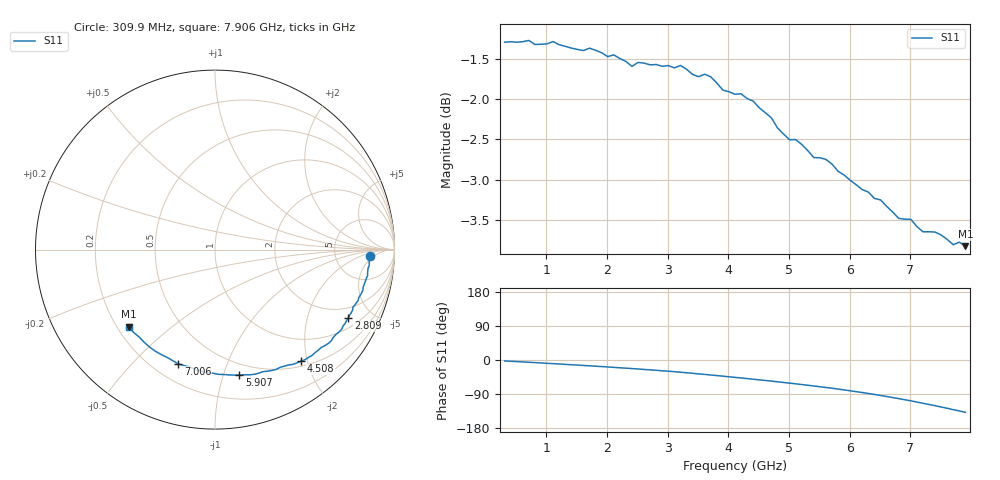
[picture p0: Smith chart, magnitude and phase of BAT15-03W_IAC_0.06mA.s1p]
! Infineon Technologies  Discrete & RF Semiconductors
! BAT15-03W-E6327
! IAC = 0.06 mA
! One-Port S-Parameters
# Hz  S  MA  R  50
!f  S11
!Hz  Mag  Ang
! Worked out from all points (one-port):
!   77 points, 309.9 MHz to 7.906 GHz, reference 50 ohm
!   lowest |S11| = -3.8 dB at 7.906 GHz (marker M1), VSWR 4.61, Z = 12.3 - j18.1 ohm
!   |S11| at or under -10 dB: nowhere
!   S11 on the Smith chart (normalised r, x): 309.9 MHz: 12, -4; 2.809 GHz: 1.43, -3.60; 4.508 GHz: 0.58, -1.89; 5.907 GHz: 0.40, -1.13; 7.006 GHz: 0.30, -0.69; 7.906 GHz: 0.25, -0.36
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3.0985e8  0.862 -2.5
7.0965e8  0.8641 -5.9
8.096e8  0.8592 -6.8
1.10945e9  0.8627 -9.6
1.30935e9  0.8569 -11.5
1.70915e9  0.8546 -15.3
2.2089e9  0.8421 -20.5
2.4088e9  0.8325 -22.6
2.50875e9  0.8373 -23.7
2.8086e9  0.8348 -27.2
3.2084e9  0.8337 -32.2
3.70815e9  0.8202 -39.6
4.10795e9  0.8 -45.9
4.2079e9  0.8005 -47.4
4.50775e9  0.7846 -52.4
5.10745e9  0.7497 -62.8
5.4073e9  0.7306 -68.6
5.6072e9  0.7286 -72.5
5.90705e9  0.7125 -79.0
6.007e9  0.7073 -81.2
6.50675e9  0.6876 -93.5
6.8066e9  0.6696 -102.0
7.0065e9  0.6687 -107.7
7.2064e9  0.6568 -114.3
7.4063e9  0.6566 -120.6
7.50625e9  0.6538 -124.0
7.8061e9  0.6471 -134.5
7.90605e9  0.6434 -138.2
